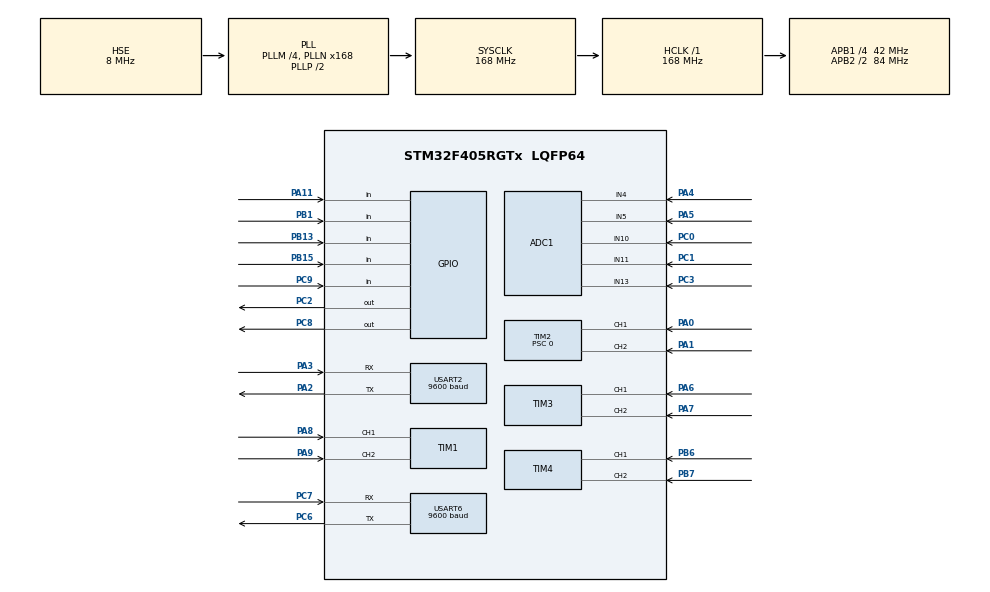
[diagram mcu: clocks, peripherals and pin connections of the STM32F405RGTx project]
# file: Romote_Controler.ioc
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ADC1.Channel-4\#ChannelRegularConversion=ADC_CHANNEL_10
ADC1.Channel-5\#ChannelRegularConversion=ADC_CHANNEL_11
ADC1.Channel-6\#ChannelRegularConversion=ADC_CHANNEL_5
ADC1.Channel-7\#ChannelRegularConversion=ADC_CHANNEL_4
ADC1.Channel-8\#ChannelRegularConversion=ADC_CHANNEL_13
ADC1.ContinuousConvMode=ENABLE
ADC1.DMAContinuousRequests=ENABLE
ADC1.NbrOfConversion=5
ADC1.NbrOfConversionFlag=1
ADC1.Rank-4\#ChannelRegularConversion=1
ADC1.Rank-5\#ChannelRegularConversion=2
ADC1.Rank-6\#ChannelRegularConversion=3
ADC1.Rank-7\#ChannelRegularConversion=4
ADC1.Rank-8\#ChannelRegularConversion=5
ADC1.SamplingTime-4\#ChannelRegularConversion=ADC_SAMPLETIME_144CYCLES
ADC1.SamplingTime-5\#ChannelRegularConversion=ADC_SAMPLETIME_144CYCLES
ADC1.SamplingTime-6\#ChannelRegularConversion=ADC_SAMPLETIME_144CYCLES
ADC1.SamplingTime-7\#ChannelRegularConversion=ADC_SAMPLETIME_144CYCLES
ADC1.SamplingTime-8\#ChannelRegularConversion=ADC_SAMPLETIME_480CYCLES
ADC1.master=1
Dma.ADC1.3.Direction=DMA_PERIPH_TO_MEMORY
Dma.ADC1.3.FIFOMode=DMA_FIFOMODE_DISABLE
Dma.ADC1.3.Instance=DMA2_Stream0
Dma.ADC1.3.MemDataAlignment=DMA_MDATAALIGN_HALFWORD
Dma.ADC1.3.MemInc=DMA_MINC_ENABLE
Dma.ADC1.3.Mode=DMA_CIRCULAR
Dma.ADC1.3.PeriphDataAlignment=DMA_PDATAALIGN_HALFWORD
Dma.ADC1.3.PeriphInc=DMA_PINC_DISABLE
Dma.ADC1.3.Priority=DMA_PRIORITY_LOW
Dma.Request0=USART6_TX
Dma.Request1=USART2_RX
Dma.Request2=USART2_TX
Dma.Request3=ADC1
Dma.USART2_RX.1.Direction=DMA_PERIPH_TO_MEMORY
Dma.USART2_RX.1.FIFOMode=DMA_FIFOMODE_DISABLE
Dma.USART2_RX.1.Instance=DMA1_Stream5
Dma.USART2_RX.1.MemDataAlignment=DMA_MDATAALIGN_BYTE
Dma.USART2_RX.1.MemInc=DMA_MINC_ENABLE
Dma.USART2_RX.1.Mode=DMA_CIRCULAR
Dma.USART2_RX.1.PeriphDataAlignment=DMA_PDATAALIGN_BYTE
Dma.USART2_RX.1.PeriphInc=DMA_PINC_DISABLE
Dma.USART2_RX.1.Priority=DMA_PRIORITY_LOW
Dma.USART2_TX.2.Direction=DMA_MEMORY_TO_PERIPH
Dma.USART2_TX.2.FIFOMode=DMA_FIFOMODE_DISABLE
Dma.USART2_TX.2.Instance=DMA1_Stream6
Dma.USART2_TX.2.MemDataAlignment=DMA_MDATAALIGN_BYTE
Dma.USART2_TX.2.MemInc=DMA_MINC_ENABLE
Dma.USART2_TX.2.Mode=DMA_NORMAL
Dma.USART2_TX.2.PeriphDataAlignment=DMA_PDATAALIGN_BYTE
Dma.USART2_TX.2.PeriphInc=DMA_PINC_DISABLE
Dma.USART2_TX.2.Priority=DMA_PRIORITY_LOW
Dma.USART6_TX.0.Direction=DMA_MEMORY_TO_PERIPH
Dma.USART6_TX.0.FIFOMode=DMA_FIFOMODE_DISABLE
Dma.USART6_TX.0.Instance=DMA2_Stream6
Dma.USART6_TX.0.MemDataAlignment=DMA_MDATAALIGN_BYTE
Dma.USART6_TX.0.MemInc=DMA_MINC_ENABLE
Dma.USART6_TX.0.Mode=DMA_NORMAL
Dma.USART6_TX.0.PeriphDataAlignment=DMA_PDATAALIGN_BYTE
Dma.USART6_TX.0.PeriphInc=DMA_PINC_DISABLE
Dma.USART6_TX.0.Priority=DMA_PRIORITY_LOW
Mcu.Family=STM32F4
Mcu.Name=STM32F405RGTx
Mcu.Package=LQFP64
NVIC.DMA1_Stream5_IRQn=true\:0\:0\:false\:false\:true\:false\:true\:true
NVIC.DMA1_Stream6_IRQn=true\:0\:0\:false\:false\:true\:false\:true\:true
NVIC.DMA2_Stream0_IRQn=true\:0\:0\:false\:false\:true\:false\:true\:true
NVIC.DMA2_Stream6_IRQn=true\:0\:0\:false\:false\:true\:false\:true\:true
NVIC.PriorityGroup=NVIC_PRIORITYGROUP_4
NVIC.TIM5_IRQn=true\:0\:0\:false\:false\:true\:true\:true\:true
NVIC.USART2_IRQn=true\:0\:0\:false\:false\:true\:true\:true\:true
NVIC.USART6_IRQn=true\:0\:0\:false\:false\:true\:true\:true\:true
PA0-WKUP.Signal=S_TIM2_CH1_ETR
PA1.Signal=S_TIM2_CH2
PA11.GPIO_PuPd=GPIO_PULLUP
PA11.Signal=GPIO_Input
PA13.Mode=Serial_Wire
PA13.Signal=SYS_JTMS-SWDIO
PA14.Mode=Serial_Wire
PA14.Signal=SYS_JTCK-SWCLK
PA2.Mode=Asynchronous
PA2.Signal=USART2_TX
PA3.Mode=Asynchronous
PA3.Signal=USART2_RX
PA4.Signal=ADCx_IN4
PA5.Signal=ADCx_IN5
PA6.Signal=S_TIM3_CH1
PA7.Signal=S_TIM3_CH2
PA8.Signal=S_TIM1_CH1
PA9.Signal=S_TIM1_CH2
PB1.GPIO_PuPd=GPIO_PULLUP
PB1.Signal=GPIO_Input
PB13.GPIO_Mode=GPIO_MODE_INPUT
PB13.GPIO_PuPd=GPIO_PULLUP
PB13.Signal=GPIO_Input
PB15.GPIO_PuPd=GPIO_PULLUP
PB15.Signal=GPIO_Input
PB6.Signal=S_TIM4_CH1
PB7.Signal=S_TIM4_CH2
PC0.Signal=ADCx_IN10
PC1.Signal=ADCx_IN11
PC2.PinState=GPIO_PIN_SET
PC2.Signal=GPIO_Output
PC3.Signal=ADCx_IN13
PC6.Mode=Asynchronous
PC6.Signal=USART6_TX
PC7.Mode=Asynchronous
PC7.Signal=USART6_RX
PC8.PinState=GPIO_PIN_SET
PC8.Signal=GPIO_Output
PC9.GPIO_PuPd=GPIO_PULLUP
PC9.Signal=GPIO_Input
PH0-OSC_IN.Mode=HSE-External-Oscillator
PH0-OSC_IN.Signal=RCC_OSC_IN
PH1-OSC_OUT.Mode=HSE-External-Oscillator
PH1-OSC_OUT.Signal=RCC_OSC_OUT
ProjectManager.HeapSize=0x1000
ProjectManager.StackSize=0x1000
ProjectManager.TargetToolchain=MDK-ARM V5.32
RCC.48MHZClocksFreq_Value=112000000
RCC.AHBFreq_Value=168000000
RCC.APB1CLKDivider=RCC_HCLK_DIV4
RCC.APB1Freq_Value=42000000
RCC.APB1TimFreq_Value=84000000
RCC.APB2CLKDivider=RCC_HCLK_DIV2
RCC.APB2Freq_Value=84000000
RCC.APB2TimFreq_Value=168000000
RCC.CortexFreq_Value=168000000
RCC.HCLKFreq_Value=168000000
RCC.HSE_VALUE=8000000
RCC.HSI_VALUE=16000000
RCC.LSE_VALUE=32768
RCC.PLLM=4
RCC.PLLN=168
RCC.PLLQ=3
RCC.PLLSourceVirtual=RCC_PLLSOURCE_HSE
RCC.SYSCLKFreq_VALUE=168000000
RCC.SYSCLKSource=RCC_SYSCLKSOURCE_PLLCLK
RCC.VCOOutputFreq_Value=336000000
SH.ADCx_IN10.0=ADC1_IN10,IN10
SH.ADCx_IN11.0=ADC1_IN11,IN11
SH.ADCx_IN13.0=ADC1_IN13,IN13
SH.ADCx_IN4.0=ADC1_IN4,IN4
SH.ADCx_IN5.0=ADC1_IN5,IN5
SH.S_TIM1_CH1.0=TIM1_CH1,Encoder_Interface
SH.S_TIM1_CH2.0=TIM1_CH2,Encoder_Interface
SH.S_TIM2_CH1_ETR.0=TIM2_CH1,Encoder_Interface
SH.S_TIM2_CH2.0=TIM2_CH2,Encoder_Interface
SH.S_TIM3_CH1.0=TIM3_CH1,Encoder_Interface
SH.S_TIM3_CH2.0=TIM3_CH2,Encoder_Interface
SH.S_TIM4_CH1.0=TIM4_CH1,Encoder_Interface
SH.S_TIM4_CH2.0=TIM4_CH2,Encoder_Interface
TIM1.EncoderMode=TIM_ENCODERMODE_TI12
TIM1.IC1Filter=10
TIM1.IC2Filter=10
TIM2.EncoderMode=TIM_ENCODERMODE_TI12
TIM2.IC1Filter=10
TIM2.IC2Filter=10
TIM2.Period=65535
TIM2.Prescaler=0
TIM3.EncoderMode=TIM_ENCODERMODE_TI12
TIM3.IC1Filter=10
TIM3.IC2Filter=10
TIM4.EncoderMode=TIM_ENCODERMODE_TI12
TIM4.IC1Filter=10
TIM4.IC2Filter=10
TIM5.Period=100000-1
TIM5.Prescaler=84-1
USART2.BaudRate=9600
USART2.VirtualMode=VM_ASYNC
USART6.BaudRate=9600
USART6.VirtualMode=VM_ASYNC
VP_TIM5_VS_ClockSourceINT.Mode=Internal
board=custom

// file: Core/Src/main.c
/* USER CODE BEGIN Header */
/**
  ******************************************************************************
  * @file           : main.c
  * @brief          : Main program body
  ******************************************************************************
  * @attention
  *
  * Copyright (c) 2026 STMicroelectronics.
  * All rights reserved.
  *
  * This software is licensed under terms that can be found in the LICENSE file
  * in the root directory of this software component.
  * If no LICENSE file comes with this software, it is provided AS-IS.
  *
  ******************************************************************************
  */
/* USER CODE END Header */
#include "main.h"
#include "adc.h"
#include "dma.h"
#include "tim.h"
#include "usart.h"
#include "gpio.h"

/* USER CODE BEGIN Includes */
#include "init.h"
/* USER CODE END Includes */

/* USER CODE BEGIN PV */
/* 全局共享变量说明：
 * - encoder: 四路编码器累积位置（来自 encoder 模块）
 * - move: 四路摇杆/移动量（来自 adc_get 模块）
 * - battery_voltage: 过滤后的电池电压（单位 V）
 * - battery_percent: 换算后的电池百分比（0-100）
 */
extern int16_t encoder[4];
extern int16_t move[4];
extern float battery_voltage;
extern uint8_t battery_percent;
/* USER CODE END PV */

void SystemClock_Config(void);

/* USER CODE BEGIN 0 */
/**
 * 功能说明：将 printf 输出重定向到 USART2（阻塞式发送）
 * 参数：
 *  - ch: 要发送的字符
 *  - f: 目标 FILE*（未使用）
 * 返回值：
 *  - 返回写入的字符
 */
int fputc(int ch, FILE *f)
{
    HAL_UART_Transmit(&huart2, (uint8_t *)&ch, 1, 0xFFFF);
    return ch;
}

/**
 * 功能说明：GCC/newlib/picolibc 的 printf 重定向底层函数。
 *          printf → _write() → __io_putchar() 这条链最终到达这里。
 *          与 fputc 不同的是，fputc 仅对 Keil/MDK 工具链有效，
 *          GCC 工具链必须实现 __io_putchar。
 */
int __io_putchar(int ch)
{
    HAL_UART_Transmit(&huart2, (uint8_t *)&ch, 1, 0xFFFF);
    return ch;
}
/* USER CODE END 0 */

int main(void)
{

  /* MCU Configuration--------------------------------------------------------*/

  /* Reset of all peripherals, Initializes the Flash interface and the Systick. */
  HAL_Init();

  /* Configure the system clock */
  SystemClock_Config();

  /* Initialize all configured peripherals */
  MX_GPIO_Init();
  MX_DMA_Init();
  MX_TIM2_Init();
  MX_ADC1_Init();
  MX_USART6_UART_Init();
  MX_TIM1_Init();
  MX_TIM3_Init();
  MX_TIM4_Init();
  MX_TIM5_Init();
  MX_USART2_UART_Init();
  /* USER CODE BEGIN 2 */
  /* 初始化外设与 DMA/中断等（在 Init 中实现） */
  Init();
  /* USER CODE END 2 */

  /* Infinite loop */
  /* USER CODE BEGIN WHILE */
  while (1)
  {
    /* 主循环：将状态通过串口发给触摸屏显示。注意：printf 可能是阻塞的，
   * 如果对实时性敏感，应将显示更新移到低优先级任务或采用 DMA 非阻塞发送。
   */
    /* 串口屏显示 */
    // 编码器值
    printf("page1.n0.val=%d\xff\xff\xff", encoder[0]);
    printf("page1.n1.val=%d\xff\xff\xff", encoder[1]);
    printf("page1.n2.val=%d\xff\xff\xff", encoder[2]);
    printf("page1.n3.val=%d\xff\xff\xff", encoder[3]);

    // 摇杆值
    printf("page2.n0.val=%d\xff\xff\xff", move[0]);
    printf("page2.n1.val=%d\xff\xff\xff", move[1]);
    printf("page2.n2.val=%d\xff\xff\xff", move[2]);
    printf("page2.n3.val=%d\xff\xff\xff", move[3]);

    // 电池电量值
    printf("Main.n0.val=%d\xff\xff\xff", battery_percent);
    printf("Main.j0.val=%d\xff\xff\xff", battery_percent);
  }
    /* USER CODE END WHILE */

}

void SystemClock_Config(void)
{
  RCC_OscInitTypeDef RCC_OscInitStruct = {0};
  RCC_ClkInitTypeDef RCC_ClkInitStruct = {0};

  /** Configure the main internal regulator output voltage
  */
  __HAL_RCC_PWR_CLK_ENABLE();
  __HAL_PWR_VOLTAGESCALING_CONFIG(PWR_REGULATOR_VOLTAGE_SCALE1);

  /** Initializes the RCC Oscillators according to the specified parameters
  * in the RCC_OscInitTypeDef structure.
  */
  RCC_OscInitStruct.OscillatorType = RCC_OSCILLATORTYPE_HSE;
  RCC_OscInitStruct.HSEState = RCC_HSE_ON;
  RCC_OscInitStruct.PLL.PLLState = RCC_PLL_ON;
  RCC_OscInitStruct.PLL.PLLSource = RCC_PLLSOURCE_HSE;
  RCC_OscInitStruct.PLL.PLLM = 4;
  RCC_OscInitStruct.PLL.PLLN = 168;
  RCC_OscInitStruct.PLL.PLLP = RCC_PLLP_DIV2;
  RCC_OscInitStruct.PLL.PLLQ = 3;
  if (HAL_RCC_OscConfig(&RCC_OscInitStruct) != HAL_OK)
  {
    Error_Handler();
  }

  /** Initializes the CPU, AHB and APB buses clocks
  */
  RCC_ClkInitStruct.ClockType = RCC_CLOCKTYPE_HCLK|RCC_CLOCKTYPE_SYSCLK
                              |RCC_CLOCKTYPE_PCLK1|RCC_CLOCKTYPE_PCLK2;
  RCC_ClkInitStruct.SYSCLKSource = RCC_SYSCLKSOURCE_PLLCLK;
  RCC_ClkInitStruct.AHBCLKDivider = RCC_SYSCLK_DIV1;
  RCC_ClkInitStruct.APB1CLKDivider = RCC_HCLK_DIV4;
  RCC_ClkInitStruct.APB2CLKDivider = RCC_HCLK_DIV2;

  if (HAL_RCC_ClockConfig(&RCC_ClkInitStruct, FLASH_LATENCY_5) != HAL_OK)
  {
    Error_Handler();
  }
}

void Error_Handler(void)
{
  __disable_irq();
  while (1)
  {
  }
}
